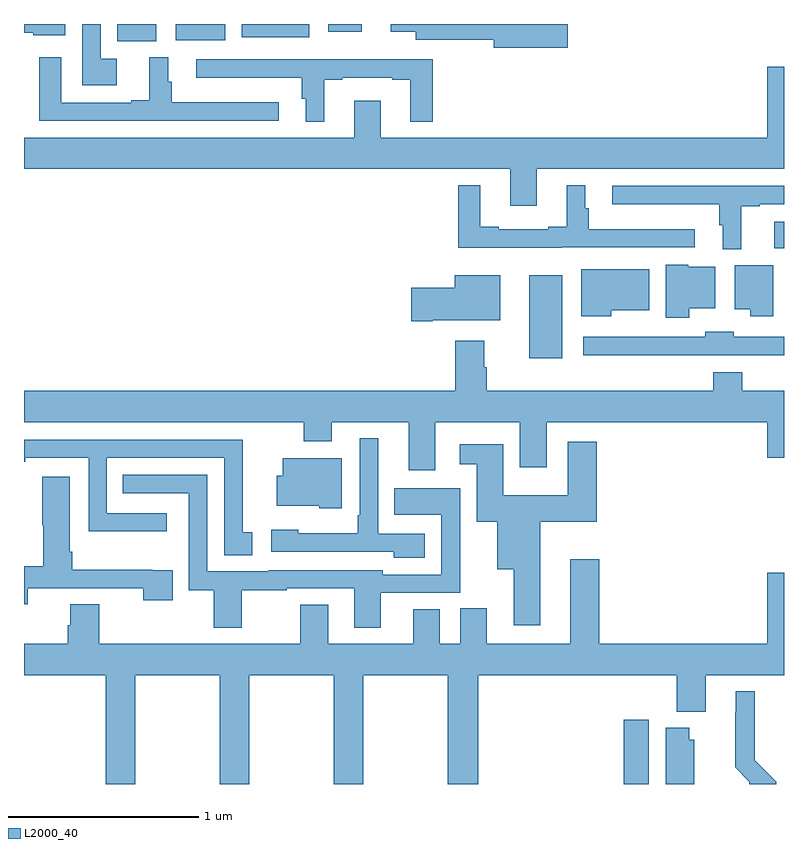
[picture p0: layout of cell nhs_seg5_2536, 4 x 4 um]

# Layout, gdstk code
import gdstk
lib = gdstk.Library(unit=1e-6, precision=1e-09)
def R(c, l, rs):  # rectangles x0, y0, x1, y1
    for r in rs: c.add(gdstk.rectangle(r[:2], r[2:], *l))
def P(c, l, *ps):  # polygons
    for p in ps: c.add(gdstk.Polygon(p, *l))
L2000_40 = (2000, 40)

nhs_seg5_2536 = lib.new_cell('nhs_seg5_2536')
R(nhs_seg5_2536, L2000_40, [(260.156,910.799,260.287,911.137), (259.658,913.04,259.834,913.477), (260.949,913.619,261,913.759), (257.492,914.708,257.695,914.799), (257.798,914.714,258.058,914.799), (258.146,914.729,258.502,914.799), (258.602,914.759,258.778,914.799)])
P(nhs_seg5_2536, L2000_40, [(257.218,914.799),(257,914.799),(257,914.752),(257.048,914.752),(257.048,914.741),(257.218,914.741)],
  [(257.488,914.617),(257.403,914.617),(257.403,914.799),(257.307,914.799),(257.307,914.477),(257.488,914.477)],
  [(259.861,914.799),(258.929,914.799),(258.929,914.759),(259.062,914.759),(259.062,914.716),(259.472,914.716),(259.472,914.674),(259.861,914.674)],
  [(258.34,914.386),(257.777,914.386),(257.777,914.496),(257.758,914.496),(257.758,914.623),(257.66,914.623),(257.66,914.398),(257.564,914.398),(257.564,914.385),(257.196,914.385),(257.196,914.623),(257.08,914.623),(257.08,914.289),(258.34,914.289)],
  [(258.58,914.505),(258.676,914.505),(258.676,914.517),(258.938,914.517),(258.938,914.505),(259.034,914.505),(259.034,914.285),(259.151,914.285),(259.151,914.614),(258.606,914.614),(258.606,914.613),(257.907,914.613),(257.907,914.516),(258.463,914.516),(258.463,914.406),(258.482,914.406),(258.482,914.285),(258.58,914.285)],
  [(259.699,914.036),(261,914.036),(261,914.575),(260.912,914.575),(260.912,914.2),(258.877,914.2),(258.877,914.395),(258.737,914.395),(258.737,914.2),(257,914.2),(257,914.036),(259.559,914.036),(259.559,913.842),(259.699,913.842)],
  [(259.83,913.623),(260.529,913.623),(260.529,913.72),(259.973,913.72),(259.973,913.83),(259.954,913.83),(259.954,913.951),(259.856,913.951),(259.856,913.732),(259.76,913.732),(259.76,913.719),(259.498,913.719),(259.498,913.732),(259.402,913.732),(259.402,913.951),(259.285,913.951),(259.285,913.622),(259.83,913.622)],
  [(260.776,913.839),(260.872,913.839),(260.872,913.851),(261,913.851),(261,913.947),(260.097,913.947),(260.097,913.85),(260.659,913.85),(260.659,913.74),(260.678,913.74),(260.678,913.614),(260.776,913.614)],
  [(260.5,913.304),(260.638,913.304),(260.638,913.522),(260.496,913.522),(260.496,913.531),(260.378,913.531),(260.378,913.254),(260.5,913.254)],
  [(260.944,913.528),(260.741,913.528),(260.741,913.298),(260.822,913.298),(260.822,913.262),(260.944,913.262)],
  [(260.091,913.292),(260.29,913.292),(260.29,913.507),(259.934,913.507),(259.934,913.262),(260.091,913.262)],
  [(259.15,913.241),(259.507,913.241),(259.507,913.477),(259.268,913.477),(259.268,913.412),(259.038,913.412),(259.038,913.234),(259.15,913.234)],
  [(261,913.152),(260.736,913.152),(260.736,913.18),(260.586,913.18),(260.586,913.152),(260.282,913.152),(260.282,913.153),(259.944,913.153),(259.944,913.055),(261,913.055)],
  [(259.165,912.704),(259.61,912.704),(259.61,912.465),(259.75,912.465),(259.75,912.704),(260.912,912.704),(260.912,912.516),(261,912.516),(261,912.868),(260.779,912.868),(260.779,912.967),(260.627,912.967),(260.627,912.868),(259.436,912.868),(259.436,912.992),(259.423,912.992),(259.423,913.132),(259.271,913.132),(259.271,912.868),(257,912.868),(257,912.704),(258.472,912.704),(258.472,912.602),(258.619,912.602),(258.619,912.704),(259.025,912.704),(259.025,912.45),(259.165,912.45)],
  [(259.108,912.117),(258.864,912.117),(258.864,912.619),(258.768,912.619),(258.768,912.214),(258.756,912.214),(258.756,912.118),(258.444,912.118),(258.444,912.136),(258.3,912.136),(258.3,912.021),(258.947,912.021),(258.947,911.99),(259.108,911.99)],
  [(258.202,912.123),(258.151,912.123),(258.151,912.612),(257,912.612),(257,912.496),(257.006,912.496),(257.006,912.516),(257.34,912.516),(257.34,912.128),(257.752,912.128),(257.752,912.225),(257.436,912.225),(257.436,912.516),(258.054,912.516),(258.054,912.004),(258.202,912.004)],
  [(259.717,912.179),(260.015,912.179),(260.015,912.601),(259.862,912.601),(259.862,912.319),(259.522,912.319),(259.522,912.586),(259.293,912.586),(259.293,912.482),(259.382,912.482),(259.382,912.179),(259.49,912.179),(259.49,911.93),(259.577,911.93),(259.577,911.634),(259.717,911.634)],
  [(258.673,912.514),(258.362,912.514),(258.362,912.421),(258.329,912.421),(258.329,912.263),(258.555,912.263),(258.555,912.251),(258.673,912.251)],
  [(258.877,911.805),(259.295,911.805),(259.295,912.355),(258.949,912.355),(258.949,912.215),(259.197,912.215),(259.197,911.901),(258.888,911.901),(258.888,911.925),(258.288,911.925),(258.288,911.919),(257.964,911.919),(257.964,912.426),(257.521,912.426),(257.521,912.33),(257.868,912.33),(257.868,911.818),(257.999,911.818),(257.999,911.622),(258.147,911.622),(258.147,911.818),(258.384,911.818),(258.384,911.829),(258.737,911.829),(258.737,911.621),(258.877,911.621)],
  [(257.02,911.829),(257.627,911.829),(257.627,911.766),(257.783,911.766),(257.783,911.925),(257.675,911.925),(257.675,911.927),(257.255,911.927),(257.255,912.022),(257.242,912.022),(257.242,912.415),(257.095,912.415),(257.095,912.162),(257.102,912.162),(257.102,911.945),(257,911.945),(257,911.744),(257.02,911.744)],
  [(257.586,911.372),(258.031,911.372),(258.031,910.799),(258.186,910.799),(258.186,911.372),(258.631,911.372),(258.631,910.799),(258.786,910.799),(258.786,911.372),(259.231,911.372),(259.231,910.799),(259.391,910.799),(259.391,911.372),(260.435,911.372),(260.435,911.18),(260.587,911.18),(260.587,911.372),(261,911.372),(261,911.911),(260.912,911.911),(260.912,911.536),(260.027,911.536),(260.027,911.983),(259.874,911.983),(259.874,911.536),(259.435,911.536),(259.435,911.724),(259.296,911.724),(259.296,911.536),(259.189,911.536),(259.189,911.72),(259.049,911.72),(259.049,911.536),(258.601,911.536),(258.601,911.743),(258.454,911.743),(258.454,911.536),(257.396,911.536),(257.396,911.744),(257.243,911.744),(257.243,911.634),(257.231,911.634),(257.231,911.536),(257,911.536),(257,911.372),(257.431,911.372),(257.431,910.799),(257.586,910.799)],
  [(260.958,910.811),(260.845,910.924),(260.845,911.287),(260.747,911.287),(260.747,911.177),(260.743,911.177),(260.743,910.886),(260.817,910.812),(260.817,910.799),(260.958,910.799)],
  [(260.527,911.031),(260.5,911.031),(260.5,911.095),(260.378,911.095),(260.378,910.799),(260.527,910.799)])

lib.write_gds('nhs_seg5_2536.gds')
